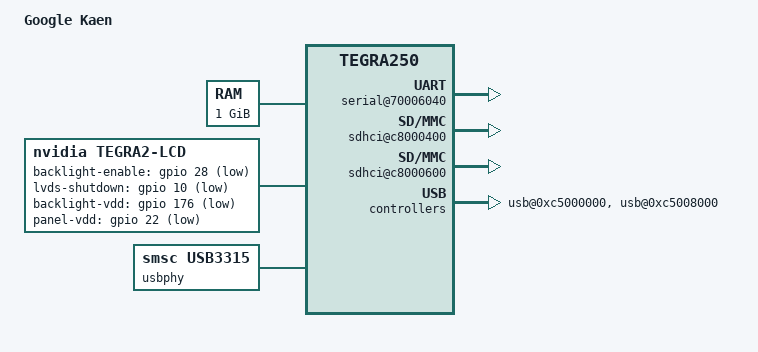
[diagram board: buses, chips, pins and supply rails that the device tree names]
/dts-v1/;

/memreserve/ 0x1c000000 0x04000000;
/include/ "tegra250.dtsi"
/include/ "chromeos.dtsi"
/include/ "flashmap-twostop-4mb.dtsi"

/ {
	model = "Google Kaen";
	compatible = "google,kaen", "nvidia,tegra250";

	config {
		odmdata = <0x300d8011>;
		hwid = "ARM KAEN TEST 3084";
		machine-arch-id = <3217>;

		/* Chrome OS specific GPIO */
		/*
		 * Parameter 3 bits
		 * bit 0: 1=output, 0=input
		 * bit 1: 1=high, 0=low
		 * bit 2: 1=active low, 0=active high
		 */
		write-protect-switch	= <&gpio 59 4>;
		recovery-switch		= <&gpio 56 4>;
		developer-switch	= <&gpio 168 0>;
		lid-switch		= <&gpio 23 4>;
		power-switch		= <&gpio 170 4>;
	};

	aliases {
		console = "/serial@70006040";
                usb0 = "/usb@0xc5008000";
                usb1 = "/usb@0xc5000000";

		sdmmc0 = "/sdhci@c8000600";
		sdmmc1 = "/sdhci@c8000400";

		i2c0 = "/i2c@0x7000d000";
		i2c1 = "/i2c@0x7000c000";
		i2c2 = "/i2c@0x7000c400";
		i2c3 = "/i2c@0x7000c500";
	};

	memory {
		device_type = "memory";
		reg = <0x00000000 0x40000000>;
	};

	ramoops@2000000 {
		reg = <0x02000000 0x02100000>;
	};

	serial@70006040 {
		status = "ok";
		clock-frequency = <216000000>;
	};

	sdhci@c8000400 {
		status = "ok";
		width = <4>;	/* width of SDIO port */
		removable = <1>;
		/* Parameter 3 bit 0:1=output, 0=input; bit 1:1=high, 0=low */
		cd-gpio = <&gpio 69 0>; /* card detect, gpio PI5 */
		wp-gpio = <&gpio 57 0>; /* write protect, gpio PH1 */
		power-gpio = <&gpio 70 3>; /* power enable, gpio PI6 */
	};

	sdhci@c8000600 {
		status = "ok";
		width = <8>;	/* width of SDIO port */
		removable = <0>;
	};

	lcd {
		compatible = "nvidia,tegra2-lcd";
		width = <1366>;
		height = <768>;
		bits_per_pixel = <16>;
		pwfm = <&pwfm2>;
		display = <&display1>;
		/* frame-buffer location = top of memory - carveout - fb */
		frame-buffer = <0x2f680000>;

		pixel_clock = <62200000>;

		/* Timing: ref_to_sync, sync_width. back_porch, front_porch */
		horiz_timing = <11 58 58 58>;
		vert_timing = <1 4 4 4>;

		/* Parameter 3 bit 0:1=output, 0=input; bit 1:1=high, 0=low */
		backlight-enable = <&gpio 28 1>;	/* PD4 */
		lvds-shutdown = <&gpio 10 1>;		/* PB2 */
		backlight-vdd = <&gpio 176 1>;		/* PW0 */
		panel-vdd = <&gpio 22 1>;		/* PC6 */

		/*
		 * Panel required timings
		 * Timing 1: delay between panel_vdd-rise and data-rise
		 * Timing 2: delay between data-rise and backlight_vdd-rise
		 * Timing 3: delay between backlight_vdd and pwm-rise
		 * Timing 4: delay between pwm-rise and backlight_en-rise
		 */
		panel-timings = <4 203 17 15>;
	};

	usb@0xc5000000 {
		status = "ok";
		host-mode = <1>;
	};

	usbphy: usbphy@0 {
		compatible = "smsc,usb3315";
		status = "ok";
	};

	usb@0xc5008000 {
		status = "ok";
		utmi = <&usbphy>;
		host-mode = <0>;
	};

};
